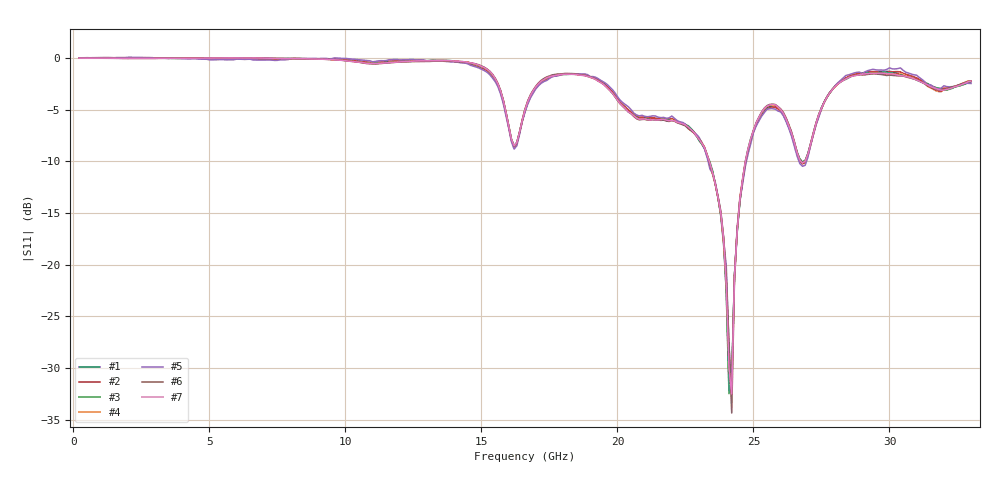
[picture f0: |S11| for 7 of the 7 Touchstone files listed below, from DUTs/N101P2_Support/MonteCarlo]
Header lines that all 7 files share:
# GHZ S RI R 50
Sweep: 200 MHz to 33 GHz
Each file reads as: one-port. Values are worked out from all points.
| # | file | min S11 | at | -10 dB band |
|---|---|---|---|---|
| 1 | N101P2_83.s2p | -31.5 dB | 24.1 GHz | 1.355 GHz wide |
| 2 | N101P2_89.s2p | -31.4 dB | 24.2 GHz | 1.36 GHz wide |
| 3 | N101P2_93.s2p | -32.5 dB | 24.1 GHz | 1.314 GHz wide |
| 4 | N101P2_94.s2p | -32.5 dB | 24.2 GHz | 1.35 GHz wide |
| 5 | N101P2_95.s2p | -32.0 dB | 24.2 GHz | 1.412 GHz wide |
| 6 | N101P2_98.s2p | -34.3 dB | 24.2 GHz | 1.342 GHz wide |
| 7 | N101P2_99.s2p | -32.5 dB | 24.2 GHz | 1.324 GHz wide |
